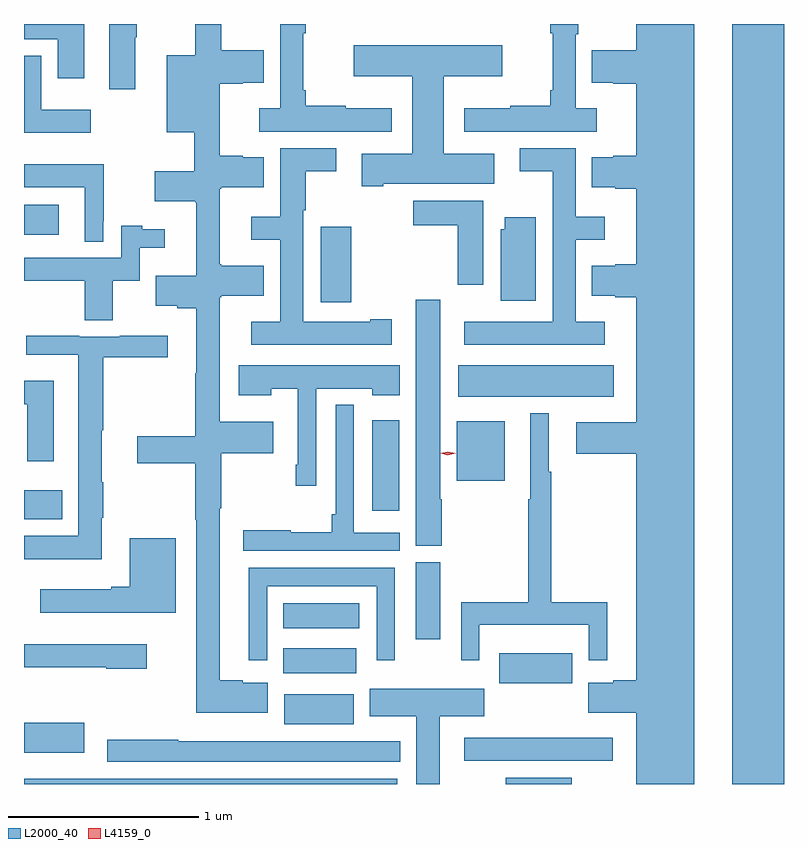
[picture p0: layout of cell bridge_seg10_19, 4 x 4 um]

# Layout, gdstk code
import gdstk
lib = gdstk.Library(unit=1e-6, precision=1e-09)
def R(c, l, rs):  # rectangles x0, y0, x1, y1
    for r in rs: c.add(gdstk.rectangle(r[:2], r[2:], *l))
def P(c, l, *ps):  # polygons
    for p in ps: c.add(gdstk.Polygon(p, *l))
L2000_40 = (2000, 40)
L4159_0 = (4159, 0)

bridge_seg10_19 = lib.new_cell('bridge_seg10_19')
R(bridge_seg10_19, L2000_40, [(1046.314,1323.723,1048.279,1323.751), (1048.85,1323.723,1049.197,1323.757), (1050.041,1323.723,1050.314,1327.723), (1048.632,1323.845,1049.413,1323.967), (1046.314,1323.887,1046.632,1324.045), (1047.683,1324.037,1048.05,1324.195), (1048.816,1324.253,1049.199,1324.411), (1047.679,1324.307,1048.063,1324.438), (1048.376,1324.485,1048.504,1324.891), (1047.679,1324.544,1048.078,1324.675), (1046.314,1325.117,1046.515,1325.269), (1048.148,1325.16,1048.288,1325.638), (1048.592,1325.318,1048.843,1325.632), (1048.599,1325.762,1049.419,1325.926), (1047.875,1326.258,1048.036,1326.655), (1046.314,1326.614,1046.497,1326.772)])
P(bridge_seg10_19, L2000_40, [(1049.329,1327.279),(1049.218,1327.279),(1049.218,1327.669),(1049.231,1327.669),(1049.231,1327.723),(1049.084,1327.723),(1049.084,1327.675),(1049.096,1327.675),(1049.096,1327.375),(1049.084,1327.375),(1049.084,1327.292),(1048.872,1327.292),(1048.872,1327.279),(1048.632,1327.279),(1048.632,1327.157),(1049.329,1327.157)],
  [(1046.899,1327.654),(1046.907,1327.654),(1046.907,1327.723),(1046.762,1327.723),(1046.762,1327.38),(1046.899,1327.38)],
  [(1048.249,1327.279),(1048.008,1327.279),(1048.008,1327.292),(1047.797,1327.292),(1047.797,1327.375),(1047.784,1327.375),(1047.784,1327.675),(1047.797,1327.675),(1047.797,1327.723),(1047.662,1327.723),(1047.662,1327.279),(1047.552,1327.279),(1047.552,1327.157),(1048.249,1327.157)],
  [(1046.632,1327.723),(1046.314,1327.723),(1046.314,1327.643),(1046.492,1327.643),(1046.492,1327.437),(1046.632,1327.437)],
  [(1047.598,1324.255),(1047.465,1324.255),(1047.465,1324.268),(1047.343,1324.268),(1047.343,1325.175),(1047.351,1325.175),(1047.351,1325.464),(1047.625,1325.464),(1047.625,1325.629),(1047.343,1325.629),(1047.343,1326.286),(1047.351,1326.286),(1047.351,1326.293),(1047.577,1326.293),(1047.577,1326.451),(1047.351,1326.451),(1047.351,1326.459),(1047.343,1326.459),(1047.343,1326.856),(1047.351,1326.856),(1047.351,1326.863),(1047.577,1326.863),(1047.577,1327.021),(1047.464,1327.021),(1047.464,1327.029),(1047.343,1327.029),(1047.343,1327.408),(1047.464,1327.408),(1047.464,1327.415),(1047.577,1327.415),(1047.577,1327.586),(1047.351,1327.586),(1047.351,1327.723),(1047.214,1327.723),(1047.214,1327.558),(1047.065,1327.558),(1047.065,1327.154),(1047.209,1327.154),(1047.209,1326.949),(1047.003,1326.949),(1047.003,1326.791),(1047.214,1326.791),(1047.214,1326.784),(1047.221,1326.784),(1047.221,1326.397),(1047.007,1326.397),(1047.007,1326.239),(1047.12,1326.239),(1047.12,1326.227),(1047.221,1326.227),(1047.221,1325.885),(1047.214,1325.885),(1047.214,1325.552),(1046.91,1325.552),(1046.91,1325.41),(1047.214,1325.41),(1047.214,1325.113),(1047.221,1325.113),(1047.221,1324.097),(1047.598,1324.097)],
  [(1049.842,1327.723),(1049.537,1327.723),(1049.537,1327.586),(1049.303,1327.586),(1049.303,1327.415),(1049.416,1327.415),(1049.416,1327.408),(1049.537,1327.408),(1049.537,1327.029),(1049.416,1327.029),(1049.416,1327.021),(1049.303,1327.021),(1049.303,1326.863),(1049.426,1326.863),(1049.426,1326.856),(1049.537,1326.856),(1049.537,1326.459),(1049.426,1326.459),(1049.426,1326.451),(1049.303,1326.451),(1049.303,1326.293),(1049.426,1326.293),(1049.426,1326.286),(1049.537,1326.286),(1049.537,1325.626),(1049.22,1325.626),(1049.22,1325.462),(1049.537,1325.462),(1049.537,1324.268),(1049.415,1324.268),(1049.415,1324.255),(1049.284,1324.255),(1049.284,1324.097),(1049.537,1324.097),(1049.537,1323.723),(1049.842,1323.723)],
  [(1048.204,1326.881),(1048.789,1326.881),(1048.789,1327.039),(1048.522,1327.039),(1048.522,1327.448),(1048.831,1327.448),(1048.831,1327.612),(1048.05,1327.612),(1048.05,1327.448),(1048.358,1327.448),(1048.358,1327.039),(1048.092,1327.039),(1048.092,1326.869),(1048.204,1326.869)],
  [(1046.665,1327.273),(1046.404,1327.273),(1046.404,1327.555),(1046.314,1327.555),(1046.314,1327.151),(1046.665,1327.151)],
  [(1049.371,1326.157),(1049.218,1326.157),(1049.218,1326.587),(1049.371,1326.587),(1049.371,1326.709),(1049.218,1326.709),(1049.218,1327.069),(1048.923,1327.069),(1048.923,1326.947),(1049.096,1326.947),(1049.096,1326.157),(1048.632,1326.157),(1048.632,1326.035),(1049.371,1326.035)],
  [(1048.249,1326.17),(1048.136,1326.17),(1048.136,1326.157),(1047.784,1326.157),(1047.784,1326.742),(1047.797,1326.742),(1047.797,1326.947),(1047.958,1326.947),(1047.958,1327.069),(1047.662,1327.069),(1047.662,1326.709),(1047.51,1326.709),(1047.51,1326.587),(1047.662,1326.587),(1047.662,1326.157),(1047.51,1326.157),(1047.51,1326.035),(1048.249,1326.035)],
  [(1046.73,1326.685),(1046.735,1326.685),(1046.735,1326.985),(1046.314,1326.985),(1046.314,1326.863),(1046.633,1326.863),(1046.633,1326.578),(1046.73,1326.578)],
  [(1048.732,1326.793),(1048.362,1326.793),(1048.362,1326.664),(1048.598,1326.664),(1048.598,1326.351),(1048.732,1326.351)],
  [(1049.008,1326.706),(1048.844,1326.706),(1048.844,1326.642),(1048.823,1326.642),(1048.823,1326.266),(1049.008,1326.266)],
  [(1046.782,1326.371),(1046.922,1326.371),(1046.922,1326.545),(1047.055,1326.545),(1047.055,1326.643),(1046.936,1326.643),(1046.936,1326.662),(1046.826,1326.662),(1046.826,1326.493),(1046.314,1326.493),(1046.314,1326.371),(1046.635,1326.371),(1046.635,1326.163),(1046.782,1326.163)],
  [(1048.512,1325.222),(1048.504,1325.222),(1048.504,1326.271),(1048.376,1326.271),(1048.376,1324.976),(1048.512,1324.976)],
  [(1046.722,1325.125),(1046.73,1325.125),(1046.73,1325.311),(1046.722,1325.311),(1046.722,1325.585),(1046.73,1325.585),(1046.73,1325.97),(1047.07,1325.97),(1047.07,1326.083),(1046.818,1326.083),(1046.818,1326.078),(1046.604,1326.078),(1046.604,1326.083),(1046.327,1326.083),(1046.327,1325.981),(1046.6,1325.981),(1046.6,1325.029),(1046.314,1325.029),(1046.314,1324.907),(1046.722,1324.907)],
  [(1047.852,1325.804),(1048.148,1325.804),(1048.148,1325.768),(1048.291,1325.768),(1048.291,1325.926),(1047.444,1325.926),(1047.444,1325.768),(1047.616,1325.768),(1047.616,1325.804),(1047.755,1325.804),(1047.755,1325.404),(1047.744,1325.404),(1047.744,1325.292),(1047.852,1325.292)],
  [(1046.47,1325.845),(1046.314,1325.845),(1046.314,1325.723),(1046.33,1325.723),(1046.33,1325.421),(1046.47,1325.421)],
  [(1048.291,1325.046),(1048.05,1325.046),(1048.05,1325.719),(1047.954,1325.719),(1047.954,1325.143),(1047.934,1325.143),(1047.934,1325.049),(1047.719,1325.049),(1047.719,1325.059),(1047.468,1325.059),(1047.468,1324.95),(1048.291,1324.95)],
  [(1048.71,1324.562),(1049.286,1324.562),(1049.286,1324.374),(1049.383,1324.374),(1049.383,1324.679),(1049.089,1324.679),(1049.089,1325.366),(1049.077,1325.366),(1049.077,1325.674),(1048.979,1325.674),(1048.979,1325.222),(1048.968,1325.222),(1048.968,1324.679),(1048.614,1324.679),(1048.614,1324.374),(1048.71,1324.374)],
  [(1047.112,1325.017),(1046.87,1325.017),(1046.87,1324.76),(1046.774,1324.76),(1046.774,1324.747),(1046.4,1324.747),(1046.4,1324.625),(1047.112,1324.625)],
  [(1047.594,1324.764),(1048.17,1324.764),(1048.17,1324.374),(1048.266,1324.374),(1048.266,1324.86),(1047.497,1324.86),(1047.497,1324.374),(1047.594,1324.374)],
  [(1046.959,1324.459),(1046.314,1324.459),(1046.314,1324.337),(1046.746,1324.337),(1046.746,1324.33),(1046.959,1324.33)],
  [(1048.501,1324.079),(1048.736,1324.079),(1048.736,1324.225),(1048.135,1324.225),(1048.135,1324.079),(1048.379,1324.079),(1048.379,1323.723),(1048.501,1323.723)],
  [(1048.294,1323.949),(1047.125,1323.949),(1047.125,1323.957),(1046.751,1323.957),(1046.751,1323.839),(1048.294,1323.839)])
P(bridge_seg10_19, L4159_0, [(1048.545,1325.453),(1048.505,1325.463),(1048.505,1325.463),(1048.505,1325.463),(1048.545,1325.473),(1048.586,1325.463),(1048.586,1325.463),(1048.586,1325.463)])

lib.write_gds('bridge_seg10_19.gds')
